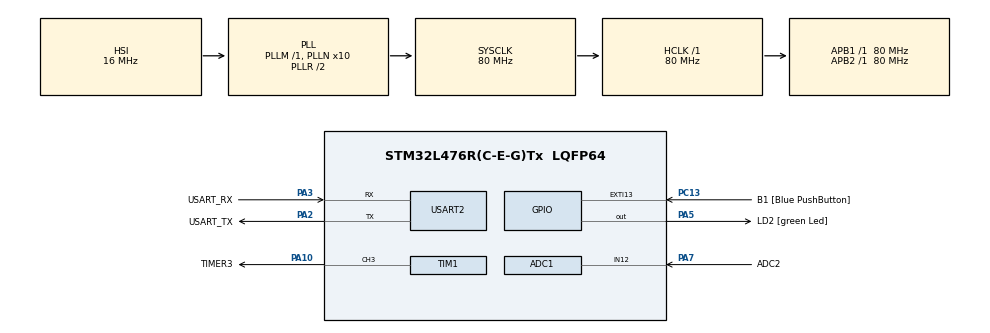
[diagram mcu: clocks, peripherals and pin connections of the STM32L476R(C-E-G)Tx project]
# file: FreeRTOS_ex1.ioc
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ADC1.Channel-1\#ChannelRegularConversion=ADC_CHANNEL_12
ADC1.ClockPrescaler=ADC_CLOCK_ASYNC_DIV8
ADC1.ContinuousConvMode=DISABLE
ADC1.ExternalTrigConv=ADC_EXTERNALTRIG_T6_TRGO
ADC1.NbrOfConversionFlag=1
ADC1.OffsetNumber-1\#ChannelRegularConversion=ADC_OFFSET_NONE
ADC1.Overrun=ADC_OVR_DATA_OVERWRITTEN
ADC1.Rank-1\#ChannelRegularConversion=1
ADC1.SamplingTime-1\#ChannelRegularConversion=ADC_SAMPLETIME_640CYCLES_5
ADC1.master=1
Mcu.Family=STM32L4
Mcu.Name=STM32L476R(C-E-G)Tx
Mcu.Package=LQFP64
Mcu.UserConstants=TIM_PRESCALER,7999;TIM_PERIOD,9999
NVIC.PriorityGroup=NVIC_PRIORITYGROUP_4
NVIC.TIM6_DAC_IRQn=true\:5\:0\:true\:false\:true\:true\:true\:true
PA10.GPIO_Label=TIMER3
PA10.Signal=S_TIM1_CH3
PA13\ (JTMS-SWDIO).GPIO_Label=TMS
PA13\ (JTMS-SWDIO).Mode=Serial_Wire
PA13\ (JTMS-SWDIO).Signal=SYS_JTMS-SWDIO
PA14\ (JTCK-SWCLK).GPIO_Label=TCK
PA14\ (JTCK-SWCLK).Mode=Serial_Wire
PA14\ (JTCK-SWCLK).Signal=SYS_JTCK-SWCLK
PA2.GPIO_Label=USART_TX
PA2.GPIO_Mode=GPIO_MODE_AF_PP
PA2.GPIO_PuPd=GPIO_NOPULL
PA2.GPIO_Speed=GPIO_SPEED_FREQ_VERY_HIGH
PA2.Mode=Asynchronous
PA2.Signal=USART2_TX
PA3.GPIO_Label=USART_RX
PA3.GPIO_Mode=GPIO_MODE_AF_PP
PA3.GPIO_PuPd=GPIO_NOPULL
PA3.GPIO_Speed=GPIO_SPEED_FREQ_VERY_HIGH
PA3.Mode=Asynchronous
PA3.Signal=USART2_RX
PA5.GPIO_Label=LD2 [green Led]
PA5.GPIO_ModeDefaultOutputPP=GPIO_MODE_OUTPUT_PP
PA5.GPIO_PuPd=GPIO_NOPULL
PA5.GPIO_Speed=GPIO_SPEED_FREQ_LOW
PA5.Signal=GPIO_Output
PA7.GPIO_Label=ADC2
PA7.Signal=ADCx_IN12
PB3\ (JTDO-TRACESWO).GPIO_Label=SWO
PB3\ (JTDO-TRACESWO).Signal=SYS_JTDO-SWO
PC13.GPIO_Label=B1 [Blue PushButton]
PC13.GPIO_ModeDefaultEXTI=GPIO_MODE_IT_FALLING
PC13.GPIO_PuPd=GPIO_NOPULL
PC13.Signal=GPXTI13
PC14-OSC32_IN\ (PC14).Mode=LSE-External-Oscillator
PC14-OSC32_IN\ (PC14).Signal=RCC_OSC32_IN
PC15-OSC32_OUT\ (PC15).Mode=LSE-External-Oscillator
PC15-OSC32_OUT\ (PC15).Signal=RCC_OSC32_OUT
PH0-OSC_IN\ (PH0).Signal=RCC_OSC_IN
PH1-OSC_OUT\ (PH1).Signal=RCC_OSC_OUT
ProjectManager.HeapSize=0x200
ProjectManager.StackSize=0x400
ProjectManager.TargetToolchain=STM32CubeIDE
RCC.ADCFreq_Value=64000000
RCC.AHBFreq_Value=80000000
RCC.APB1Freq_Value=80000000
RCC.APB1TimFreq_Value=80000000
RCC.APB2Freq_Value=80000000
RCC.APB2TimFreq_Value=80000000
RCC.CortexFreq_Value=80000000
RCC.HCLKFreq_Value=80000000
RCC.HSE_VALUE=8000000
RCC.HSI_VALUE=16000000
RCC.MSI_VALUE=4000000
RCC.PLLN=10
RCC.PLLSourceVirtual=RCC_PLLSOURCE_HSI
RCC.PREFETCH_ENABLE=1
RCC.SYSCLKFreq_VALUE=80000000
RCC.SYSCLKSource=RCC_SYSCLKSOURCE_PLLCLK
RCC.USBFreq_Value=64000000
RCC.VCOOutputFreq_Value=160000000
SH.ADCx_IN12.0=ADC1_IN12,IN12-Single-Ended
SH.S_TIM1_CH3.0=TIM1_CH3,PWM Generation3 CH3
TIM1.Channel-PWM\ Generation3\ CH3=TIM_CHANNEL_3
TIM1.Period=5999
TIM1.Prescaler=39999
TIM1.Pulse-PWM\ Generation3\ CH3=2999
TIM6.AutoReloadPreload=TIM_AUTORELOAD_PRELOAD_ENABLE
TIM6.Period=TIM_PERIOD
TIM6.Prescaler=TIM_PRESCALER
TIM6.TIM_MasterOutputTrigger=TIM_TRGO_UPDATE
USART2.VirtualMode-Asynchronous=VM_ASYNC
VP_TIM6_VS_ClockSourceINT.Mode=Enable_Timer
board=NUCLEO-L476RG

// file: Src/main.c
/* USER CODE BEGIN Header */
/**
 ******************************************************************************
 * @file           : main.c
 * @brief          : Main program body
 ******************************************************************************
 * @attention
 *
 * <h2><center>&copy; Copyright (c) 2019 STMicroelectronics.
 * All rights reserved.</center></h2>
 *
 * This software component is licensed by ST under BSD 3-Clause license,
 * the "License"; You may not use this file except in compliance with the
 * License. You may obtain a copy of the License at:
 *                        opensource.org/licenses/BSD-3-Clause
 *
 ******************************************************************************
 */
/* USER CODE END Header */
#include "main.h"
#include "adc.h"
#include "stm32l4xx_hal_adc.h"
#include "tim.h"
#include "usart.h"
#include "gpio.h"

/* USER CODE BEGIN Includes */
// --> include all necessary headers for
// printf() redirection
#include "stdio.h"

// FreeRTOS related headers
#include "FreeRTOS.h"
#include "semphr.h"
#include "task.h"
#include "event_groups.h"
/* USER CODE END Includes */

void SystemClock_Config(void);

/* USER CODE BEGIN 0 */

int _write(int file, char *ptr, int len) {
	HAL_UART_Transmit(&huart2, (uint8_t*) ptr, len, 50);
	return len;
}

uint16_t measurement;
SemaphoreHandle_t mutex;
SemaphoreHandle_t adcReady;

#define MEASUREMENT_READY_BIT  (1 << 0)
EventGroupHandle_t events;

void HAL_TIM_PeriodElapsedCallback(TIM_HandleTypeDef *htim) {
	if (htim->Instance == TIM6) {
		BaseType_t hpw = pdFALSE;
		xSemaphoreGiveFromISR(adcReady, &hpw);
		portYIELD_FROM_ISR(hpw);
	}
}

void measureTask(void *args) {

	for (;;) {
		xSemaphoreTake(adcReady, portMAX_DELAY);
		HAL_ADC_PollForConversion(&hadc1, 2);
		uint16_t v = HAL_ADC_GetValue(&hadc1);

		xSemaphoreTake(mutex, portMAX_DELAY);
		measurement = v;
		xSemaphoreGive(mutex);
		xEventGroupSetBits(events, MEASUREMENT_READY_BIT);
	}
}

void commTask(void *args) {

	for (;;) {

		EventBits_t bits = xEventGroupWaitBits(events,
			MEASUREMENT_READY_BIT,
			pdTRUE,            /* clear on exit */
			pdFALSE,           /* any of the bits */
			pdMS_TO_TICKS(400));

		if ((bits & MEASUREMENT_READY_BIT) == 0) {
			printf("no event\r\n");
			continue;
		}
		xSemaphoreTake(mutex, portMAX_DELAY);
		uint16_t v = measurement;
		xSemaphoreGive(mutex);

		printf("[ex3]:	ADC1: %u, TIM1 ticks: %lu\r\n", v, HAL_GetTick());
	}
}

/* USER CODE END 0 */

int main(void)
 {

  /* MCU Configuration--------------------------------------------------------*/

  /* Reset of all peripherals, Initializes the Flash interface and the Systick. */
  HAL_Init();

  /* Configure the system clock */
  SystemClock_Config();

  /* Initialize all configured peripherals */
  MX_GPIO_Init();
  MX_USART2_UART_Init();
  MX_ADC1_Init();
  MX_TIM6_Init();
  MX_TIM1_Init();
  /* USER CODE BEGIN 2 */

	//start TIM1, channel 3 in PWM mode
	HAL_TIM_PWM_Start(&htim1, TIM_CHANNEL_3);

	//create synchronization primitives
	mutex = xSemaphoreCreateMutex();
	configASSERT(mutex != NULL);
	adcReady = xSemaphoreCreateBinary();
	configASSERT(adcReady != NULL);
	events = xEventGroupCreate();
	configASSERT(events != NULL);

	//arm ADC1 for TIM6 TRGO trigger, then start TIM6 in interrupt mode
	HAL_ADC_Start(&hadc1);
	HAL_TIM_Base_Start_IT(&htim6);

	//create all necessary tasks
	printf("Starting!\r\n");
	xTaskCreate(measureTask, "measure", configMINIMAL_STACK_SIZE,
			NULL, tskIDLE_PRIORITY + 2, NULL);
	xTaskCreate(commTask, "comm", configMINIMAL_STACK_SIZE * 4,
			NULL, tskIDLE_PRIORITY + 1, NULL);

	//start FreeRTOS scheduler
	vTaskStartScheduler();
  /* USER CODE END 2 */

  /* Infinite loop */
	while (1) {

	}
}

void SystemClock_Config(void)
{
  RCC_OscInitTypeDef RCC_OscInitStruct = {0};
  RCC_ClkInitTypeDef RCC_ClkInitStruct = {0};
  RCC_PeriphCLKInitTypeDef PeriphClkInit = {0};

  /** Initializes the RCC Oscillators according to the specified parameters
  * in the RCC_OscInitTypeDef structure.
  */
  RCC_OscInitStruct.OscillatorType = RCC_OSCILLATORTYPE_HSI;
  RCC_OscInitStruct.HSIState = RCC_HSI_ON;
  RCC_OscInitStruct.HSICalibrationValue = RCC_HSICALIBRATION_DEFAULT;
  RCC_OscInitStruct.PLL.PLLState = RCC_PLL_ON;
  RCC_OscInitStruct.PLL.PLLSource = RCC_PLLSOURCE_HSI;
  RCC_OscInitStruct.PLL.PLLM = 1;
  RCC_OscInitStruct.PLL.PLLN = 10;
  RCC_OscInitStruct.PLL.PLLP = RCC_PLLP_DIV7;
  RCC_OscInitStruct.PLL.PLLQ = RCC_PLLQ_DIV2;
  RCC_OscInitStruct.PLL.PLLR = RCC_PLLR_DIV2;
  if (HAL_RCC_OscConfig(&RCC_OscInitStruct) != HAL_OK)
  {
    Error_Handler();
  }
  /** Initializes the CPU, AHB and APB buses clocks
  */
  RCC_ClkInitStruct.ClockType = RCC_CLOCKTYPE_HCLK|RCC_CLOCKTYPE_SYSCLK
                              |RCC_CLOCKTYPE_PCLK1|RCC_CLOCKTYPE_PCLK2;
  RCC_ClkInitStruct.SYSCLKSource = RCC_SYSCLKSOURCE_PLLCLK;
  RCC_ClkInitStruct.AHBCLKDivider = RCC_SYSCLK_DIV1;
  RCC_ClkInitStruct.APB1CLKDivider = RCC_HCLK_DIV1;
  RCC_ClkInitStruct.APB2CLKDivider = RCC_HCLK_DIV1;

  if (HAL_RCC_ClockConfig(&RCC_ClkInitStruct, FLASH_LATENCY_4) != HAL_OK)
  {
    Error_Handler();
  }
  PeriphClkInit.PeriphClockSelection = RCC_PERIPHCLK_USART2|RCC_PERIPHCLK_ADC;
  PeriphClkInit.Usart2ClockSelection = RCC_USART2CLKSOURCE_PCLK1;
  PeriphClkInit.AdcClockSelection = RCC_ADCCLKSOURCE_PLLSAI1;
  PeriphClkInit.PLLSAI1.PLLSAI1Source = RCC_PLLSOURCE_HSI;
  PeriphClkInit.PLLSAI1.PLLSAI1M = 1;
  PeriphClkInit.PLLSAI1.PLLSAI1N = 8;
  PeriphClkInit.PLLSAI1.PLLSAI1P = RCC_PLLP_DIV7;
  PeriphClkInit.PLLSAI1.PLLSAI1Q = RCC_PLLQ_DIV2;
  PeriphClkInit.PLLSAI1.PLLSAI1R = RCC_PLLR_DIV2;
  PeriphClkInit.PLLSAI1.PLLSAI1ClockOut = RCC_PLLSAI1_ADC1CLK;
  if (HAL_RCCEx_PeriphCLKConfig(&PeriphClkInit) != HAL_OK)
  {
    Error_Handler();
  }
  /** Configure the main internal regulator output voltage
  */
  if (HAL_PWREx_ControlVoltageScaling(PWR_REGULATOR_VOLTAGE_SCALE1) != HAL_OK)
  {
    Error_Handler();
  }
}

void Error_Handler(void)
{
}

/************************ (C) COPYRIGHT STMicroelectronics *****END OF FILE****/
